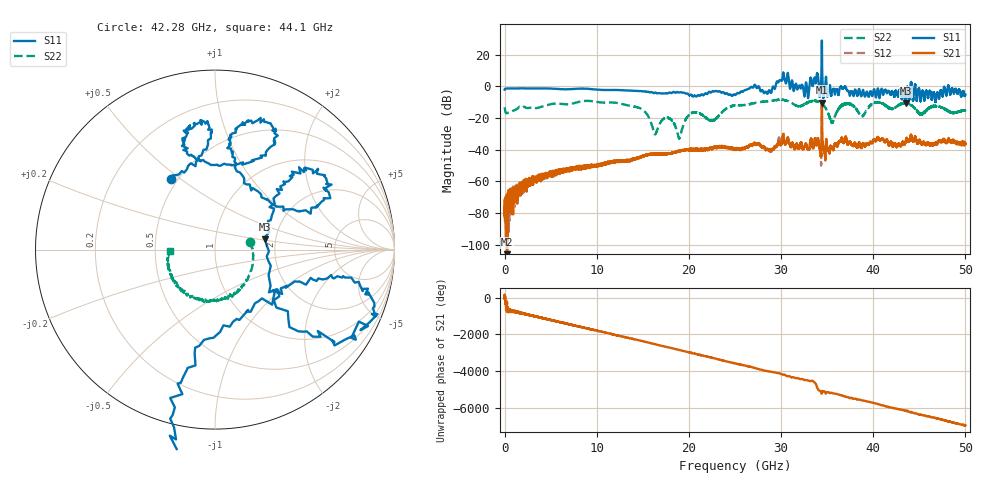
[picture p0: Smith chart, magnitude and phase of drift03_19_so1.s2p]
!Created with skrf (http://scikit-rf.org).
# Hz S RI R 50.0
!freq ReS11 ImS11 ReS21 ImS21 ReS12 ImS12 ReS22 ImS22
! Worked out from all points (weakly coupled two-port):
!   10000 points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, 5.3 MHz to 50 GHz, reference 50 ohm
!   highest |S21| = -10.30 dB at 34.43 GHz (marker M1); lowest = -110.9 dB at 275.3 MHz (marker M2)
!   lowest |S11| = -10.9 dB at 43.52 GHz (marker M3), VSWR 1.80, Z = 88 + j10.9 ohm
!   |S11| at or under -10 dB: 43.4995 GHz to 43.50311 GHz (3.609 MHz wide, 0.0083 % of centre); 43.50524 GHz to 43.53847 GHz (33.23 MHz wide, 0.0763 % of centre); 46.7596 GHz to 46.76033 GHz (735.4 kHz wide, 0.00157 % of centre)
!   |S22| runs from -33.1 to -8.4 dB; largest |S21 - S12| = 0.093
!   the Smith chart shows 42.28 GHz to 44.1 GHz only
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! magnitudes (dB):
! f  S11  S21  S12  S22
! 5.3 MHz  -2.1  -71.9  -77.4  -13.3
! 275.3 MHz  -1.4  -110.9  -68.3  -17.0
! 3.28 GHz  -1.4  -59.1  -57.9  -13.7
! 8.34 GHz  -1.5  -51.5  -51.6  -9.5
! 14.52 GHz  -3.1  -45.6  -45.3  -13.5
! 16.67 GHz  -4.4  -43.0  -42.8  -25.9
! 17.82 GHz  -4.2  -42.6  -42.6  -20.1
! 18.97 GHz  -3.9  -41.1  -41.1  -33.1
! 20.29 GHz  -5.6  -40.4  -39.8  -17.0
! 22.57 GHz  -3.1  -39.5  -39.2  -21.8
! 25.01 GHz  -5.5  -39.8  -39.5  -12.2
! 28.72 GHz  -2.5  -40.4  -40.3  -9.4
! 30.14 GHz  4.4  -33.9  -33.8  -8.5
! 32.74 GHz  2.0  -36.9  -36.4  -10.6
! 33.34 GHz  2.6  -34.5  -35.0  -9.4
! 34.43 GHz  28.9  -10.3  -12.4  -10.9
! 35.53 GHz  -3.4  -38.8  -38.8  -23.1
! 36.96 GHz  0.1  -32.9  -33.3  -11.3
! 38.76 GHz  -5.6  -38.2  -38.3  -19.0
! 41.67 GHz  -3.1  -37.0  -36.9  -13.3
! 43.52 GHz  -10.9  -35.4  -35.3  -10.9
! 50 GHz  -5.3  -36.3  -36.1  -15.4
